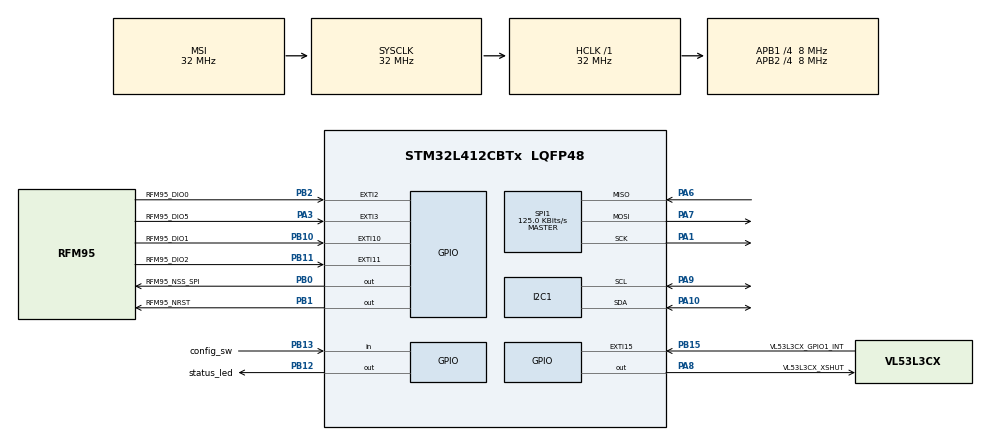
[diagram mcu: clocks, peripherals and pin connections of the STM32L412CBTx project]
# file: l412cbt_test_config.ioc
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ADC1.Channel-0\#ChannelRegularConversion=ADC_CHANNEL_VBAT
ADC1.NbrOfConversionFlag=1
ADC1.OffsetNumber-0\#ChannelRegularConversion=ADC_OFFSET_NONE
ADC1.Rank-0\#ChannelRegularConversion=1
ADC1.SamplingTime-0\#ChannelRegularConversion=ADC_SAMPLETIME_2CYCLES_5
ADC1.master=1
I2C1.Timing=0x2000090E
Mcu.Family=STM32L4
Mcu.Name=STM32L412CBTx
Mcu.Package=LQFP48
NVIC.EXTI15_10_IRQn=true\:1\:0\:true\:false\:true\:true\:true\:true
NVIC.EXTI2_IRQn=true\:1\:0\:true\:false\:true\:true\:true\:true
NVIC.EXTI3_IRQn=true\:1\:0\:true\:false\:true\:true\:true\:true
NVIC.PriorityGroup=NVIC_PRIORITYGROUP_4
NVIC.TIM2_IRQn=true\:0\:0\:true\:false\:true\:true\:true\:true
PA1.Mode=Full_Duplex_Master
PA1.Signal=SPI1_SCK
PA10.Mode=I2C
PA10.Signal=I2C1_SDA
PA13\ (JTMS/SWDIO).Mode=Trace_Asynchronous_SW
PA13\ (JTMS/SWDIO).Signal=SYS_JTMS-SWDIO
PA14\ (JTCK/SWCLK).Mode=Trace_Asynchronous_SW
PA14\ (JTCK/SWCLK).Signal=SYS_JTCK-SWCLK
PA3.GPIO_Label=RFM95_DIO5
PA3.Signal=GPXTI3
PA6.Mode=Full_Duplex_Master
PA6.Signal=SPI1_MISO
PA7.Mode=Full_Duplex_Master
PA7.Signal=SPI1_MOSI
PA8.GPIO_Label=VL53L3CX_XSHUT
PA8.PinState=GPIO_PIN_SET
PA8.Signal=GPIO_Output
PA9.Mode=I2C
PA9.Signal=I2C1_SCL
PB0.GPIO_Label=RFM95_NSS_SPI
PB0.GPIO_Speed=GPIO_SPEED_FREQ_HIGH
PB0.PinState=GPIO_PIN_SET
PB0.Signal=GPIO_Output
PB1.GPIO_Label=RFM95_NRST
PB1.PinState=GPIO_PIN_SET
PB1.Signal=GPIO_Output
PB10.GPIO_Label=RFM95_DIO1
PB10.Signal=GPXTI10
PB11.GPIO_Label=RFM95_DIO2
PB11.Signal=GPXTI11
PB12.GPIO_Label=status_led
PB12.PinState=GPIO_PIN_SET
PB12.Signal=GPIO_Output
PB13.GPIO_Label=config_sw
PB13.Signal=GPIO_Input
PB15.GPIO_Label=VL53L3CX_GPIO1_INT
PB15.Signal=GPXTI15
PB2.GPIO_Label=RFM95_DIO0
PB2.Signal=GPXTI2
PB3\ (JTDO/TRACESWO).Mode=Trace_Asynchronous_SW
PB3\ (JTDO/TRACESWO).Signal=SYS_JTDO-SWO
PH0-OSC_IN\ (PH0).Mode=HSE-External-Oscillator
PH0-OSC_IN\ (PH0).Signal=RCC_OSC_IN
PH1-OSC_OUT\ (PH1).Mode=HSE-External-Oscillator
PH1-OSC_OUT\ (PH1).Signal=RCC_OSC_OUT
ProjectManager.HeapSize=0x200
ProjectManager.StackSize=0x400
ProjectManager.TargetToolchain=STM32CubeIDE
RCC.ADCFreq_Value=32000000
RCC.AHBFreq_Value=32000000
RCC.APB1CLKDivider=RCC_HCLK_DIV4
RCC.APB1Freq_Value=8000000
RCC.APB1TimFreq_Value=16000000
RCC.APB2CLKDivider=RCC_HCLK_DIV4
RCC.APB2Freq_Value=8000000
RCC.APB2TimFreq_Value=16000000
RCC.CK48CLockSelection=RCC_USBCLKSOURCE_HSI48
RCC.CortexFreq_Value=32000000
RCC.HCLKFreq_Value=32000000
RCC.HSE_VALUE=8000000
RCC.HSI48_VALUE=48000000
RCC.HSI_VALUE=16000000
RCC.LSE_VALUE=32768
RCC.MSIClockRange=RCC_MSIRANGE_10
RCC.MSI_VALUE=32000000
RCC.PLLN=40
RCC.SYSCLKFreq_VALUE=32000000
RCC.USBFreq_Value=48000000
RCC.VCOOutputFreq_Value=1280000000
SPI1.BaudRatePrescaler=SPI_BAUDRATEPRESCALER_64
SPI1.CalculateBaudRate=125.0 KBits/s
SPI1.DataSize=SPI_DATASIZE_8BIT
SPI1.Direction=SPI_DIRECTION_2LINES
SPI1.Mode=SPI_MODE_MASTER
SPI1.VirtualType=VM_MASTER
TIM2.Period=3999999
TIM2.Prescaler=16000
VP_ADC1_Vbat_Input.Mode=IN-Vbat
VP_TIM2_VS_ClockSourceINT.Mode=Internal
board=custom

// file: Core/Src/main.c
/* USER CODE BEGIN Header */
/**
  ******************************************************************************
  * @file           : main.c
  * @brief          : Main program body
  ******************************************************************************
  * @attention
  *
  * Copyright (c) 2024 STMicroelectronics.
  * All rights reserved.
  *
  * This software is licensed under terms that can be found in the LICENSE file
  * in the root directory of this software component.
  * If no LICENSE file comes with this software, it is provided AS-IS.
  *
  ******************************************************************************
  */
/* USER CODE END Header */
#include "main.h"
#include "stm32l4xx_hal.h"
#include "stdbool.h"
#include"assert.h"
#include "string.h"
#include "VL53L3CX_ULP_api.h"

/* USER CODE BEGIN PTD */

/* Private includes ----------------------------------------------------------*/
/* USER CODE BEGIN Includes */

/* USER CODE END Includes */

/* Private typedef -----------------------------------------------------------*/
/* USER CODE BEGIN PTD */
#define RFM9x_VER 0x12 // chip version can be read from ver register

#ifndef RFM95_SPI_TIMEOUT
#define RFM95_SPI_TIMEOUT 10
#endif

#ifndef RFM95_WAKEUP_TIMEOUT
#define RFM95_WAKEUP_TIMEOUT 10
#endif

#ifndef RFM95_SEND_TIMEOUT
#define RFM95_SEND_TIMEOUT 150
#endif

#ifndef RFM95_RECEIVE_TIMEOUT
#define RFM95_RECEIVE_TIMEOUT 1000
#endif

#ifndef RX_CONTINUOUS_TIMEOUT
#define RX_CONTINUOUS_TIMEOUT 2500
#endif

#define no_check 10
#define check 0
#define object_detected 1

#define SetUp_mode 10
#define Monitoring_mode 20

#define sending 1
#define service_channel 0
/**
 * LoRa Registers addresses read page 90 and page 108 on SX1276 data sheet
 Note: Reg function and name is different for each modulation scheme!
 */
typedef enum
{
	RFM95_REGISTER_FIFO_ACCESS = 0x00,
	RFM95_REGISTER_OP_MODE = 0x01,
	RFM95_REGISTER_FR_MSB = 0x06,
	RFM95_REGISTER_FR_MID = 0x07,
	RFM95_REGISTER_FR_LSB = 0x08,
	RFM95_REGISTER_PA_CONFIG = 0x09,
	RFM95_REGISTER_LNA = 0x0C,
	RFM95_REGISTER_FIFO_ADDR_PTR = 0x0D,
	RFM95_REGISTER_FIFO_TX_BASE_ADDR = 0x0E,
	RFM95_REGISTER_FIFO_RX_BASE_ADDR = 0x0F,
	RFM95_REGISTER_IRQ_FLAGS = 0x12,
	RFM95_REGISTER_FIFO_RX_BYTES_NB = 0x13,
	RFM95_REGISTER_PACKET_SNR = 0x19,
	RFM95_REGISTER_MODEM_CONFIG_1 = 0x1D,//configures the lore modem freq, SF, coding rate...
	RFM95_REGISTER_MODEM_CONFIG_2 = 0x1E,//same here
	RFM95_REGISTER_SYMB_TIMEOUT_LSB = 0x1F,
	RFM95_REGISTER_PREAMBLE_MSB = 0x20,
	RFM95_REGISTER_PREAMBLE_LSB = 0x21,
	RFM95_REGISTER_PAYLOAD_LENGTH = 0x22,
	RFM95_REGISTER_MAX_PAYLOAD_LENGTH = 0x23,
	RFM95_REGISTER_REG_OSC = 0x24,
	RFM95_REGISTER_MODEM_CONFIG_3 = 0x26,
	RFM95_REGISTER_INVERT_IQ_1 = 0x33,
	RFM95_REGISTER_SYNC_WORD = 0x39,
	RFM95_REGISTER_INVERT_IQ_2 = 0x3B,
	RFM95_REGISTER_DIO_MAPPING_1 = 0x40,
	RFM95_REGISTER_VERSION = 0x42,
	RFM95_REGISTER_PA_DAC = 0x4D,
	RegHopPeriod = 0x24,
	REG_DETECT_THRESHOLD = 0x37

} rfm95_register_t;

#define RFM95_REGISTER_OP_MODE_SLEEP                            0x00
#define RFM95_REGISTER_OP_MODE_LORA_SLEEP                       0x80
#define RFM95_REGISTER_OP_MODE_LORA_STANDBY                     0x81
#define RFM95_REGISTER_OP_MODE_LORA_TX                          0x83
#define RFM95_REGISTER_OP_MODE_LORA_RX_SINGLE                   0x86
#define RFM95_REGISTER_OP_MODE_LORA_RX_CONTI               0x85
#define RFM95_REGISTER_OP_MODE_LORA_CAD              			0x87

#define RFM95_REGISTER_PA_DAC_LOW_POWER                         0x84
#define RFM95_REGISTER_PA_DAC_HIGH_POWER                        0x87

#define RFM95_REGISTER_DIO_MAPPING_1_IRQ_FOR_TXDONE             0x40
#define RFM95_REGISTER_DIO_MAPPING_1_IRQ_FOR_RXDONE             0x00

#define RFM95_REGISTER_CLK_OUT_OFF           					 0x07

#define RFM95_REGISTER_INVERT_IQ_1_TX                    		    0x26
#define RFM95_REGISTER_INVERT_IQ_2_TX							              0x1d

#define RFM95_REGISTER_INVERT_IQ_1_RX                    		    0x67
#define RFM95_REGISTER_INVERT_IQ_2_RX						0x19
#define RegHopPeriod 		0x24
#define REG_DETECT_THRESHOLD 0x37

#define RFM95_INTERRUPT_COUNT 3//number of interrupt lines
#define No_Pin 0x41000

typedef enum
{
	RFM95_INTERRUPT_DIO0 ,
	RFM95_INTERRUPT_DIO1 ,
	RFM95_INTERRUPT_DIO5

} rfm95_interrupt_t;

typedef enum
{
	RFM95_RECEIVE_MODE_NONE,// no reciever
	RFM95_RECEIVE_MODE_RX1_ONLY,// recieve only with RX1 time target
	RFM95_RECEIVE_MODE_RX12,// receive with RX1 time target, of fails use the longer RX2 time target
	RFM95_RECEIVE_MODE_CONTINUOUS,//continously fills the data buffer but generates a an RX done flag, no timeout interrupt for the module in rx mode
	FM95_RECEIVE_MODE_CAD//detects if a valid Lora preable is detetc

} rfm95_receive_mode_t;

typedef struct
{// the elements of union share the same address space, thus in this case buffer union is just used to pass the contetnts of the whole struct.
	union {//struct used the bit field number": 1" as to compact the size to given number if bits
		struct {
			uint8_t output_power : 4;
			uint8_t max_power : 3;
			uint8_t pa_select : 1;
		};
		uint8_t buffer;
	};
} rfm95_register_pa_config_t;

typedef struct {

	uint32_t frequency;//frequency band give in Hz

} rfm95_channel_config_t;

typedef struct {

	/**
	 * MAGIC
	 */
	uint16_t magic;

	/**
	 * The current RX frame counter value.
	 */
	uint16_t rx_frame_count;

	/**
	 * The current TX frame counter value.
	 */
	uint16_t tx_frame_count;

	/**
	 * The delay to the RX1 window, default is 1
	 */
	uint8_t rx1_delay ;

	/**
	 * The configuration of channels, option of 16 chanel with diffrent frequencies
	 */
	rfm95_channel_config_t channels[16];

	/**
	 * Mask defining which channels are configured.
	 */
	uint16_t channel_mask;

} rfm95_eeprom_config_t;

typedef void (*rfm95_on_after_interrupts_configured)();

typedef void (*rfm95_precision_sleep_until)(uint32_t ticks_target);

typedef uint8_t (*rfm95_random_int)(uint8_t max);
typedef uint8_t (*rfm95_get_battery_level)();

typedef struct {

	/**
	 * The handle to the SPI bus for the device.
	 */
	SPI_HandleTypeDef *spi_handle;

	/**
	 * The port of the NSS pin.
	 */
	GPIO_TypeDef *nss_port;

	/**
	 * The NSS pin.
	 */
	uint16_t nss_pin;

		/**
	 * The DIO0 pin.
	 */
	uint16_t DIO0_pin;

	/**
	 * The DIO1 pin.
	 */
	uint16_t DIO1_pin;

	/**
	 * The DIO5 pin.
	 */
	uint16_t DIO5_pin;

	/**
	 * The port of the RST pin.
	 */
	GPIO_TypeDef *nrst_port;

	/**
	 * The RST pin.
	 */
	uint16_t nrst_pin;

	/**
	 * The device address for the LoraWAN
	 */
	uint8_t source_address[4];

	/**
	* The address of the destination (gateway)
	 */

	uint8_t destination_address[4];

	/**
	 * The network session key for ABP activation with the LoraWAN
	 */
	uint8_t network_session_key[16];

	/**
	 * The application session key for ABP activation with the LoraWAN
	 */
	uint8_t application_session_key[16];

	/**
	 * The frequency of the precision tick in Hz.
	 */
	uint32_t precision_tick_frequency;

	/**
	 * The +/- timing drift per second in nanoseconds.
	 */
	uint32_t precision_tick_drift_us_per_s;

	int8_t recieved_snr;

	/**
	 * The receive mode to operate at.
	 */
	rfm95_receive_mode_t receive_mode;

	/**
	 * Function that provides a precise sleep until a given tick count is reached.
	 */
	rfm95_precision_sleep_until precision_sleep_until;

	/**
	 * Function that provides a random integer.
	 */
	rfm95_random_int random_int;

	/**
	 * Function that returns the device's battery level.
	 */
	rfm95_get_battery_level get_battery_level;

	/**
	 * Callback called after the interrupt functions have been properly configred;
	 */
	rfm95_on_after_interrupts_configured on_after_interrupts_configured;

/**
	 * The config saved into the eeprom!! No eemprom so used to hold the channel frequencies
	 */
	rfm95_eeprom_config_t config;

	/**
	 * Tick values when each interrupt was called.
	 */
	volatile uint32_t interrupt_times[RFM95_INTERRUPT_COUNT];

	bool status;

} rfm95_handle_t;

typedef struct {

			uint16_t dev_address;

			uint16_t sensor_id;

			int status;

			uint8_t mes_status;

			uint16_t distance;

			uint16_t sigma;

			uint16_t signal_kcps;

			uint16_t ambient_kcps;

} VL53L3CX_handle_struct;

volatile uint8_t IntCount = 0;

/* USER CODE END PTD */

I2C_HandleTypeDef hi2c1;

SPI_HandleTypeDef hspi1;

TIM_HandleTypeDef htim2;

ADC_HandleTypeDef hadc1;

void SystemClock_Config(void);
static void MX_GPIO_Init(void);
static void MX_I2C1_Init(void);
static void MX_SPI1_Init(void);
static void MX_TIM2_Init(void);
static void MX_ADC1_Init(void);

/* USER CODE BEGIN 0 */
void sleep (void){
		HAL_SuspendTick();
		//could make it so it uses a lower power mode
		HAL_PWR_EnterSTOPMode(PWR_MAINREGULATOR_ON, PWR_STOPENTRY_WFI);
		SystemClock_Config();
		HAL_ResumeTick();

}

//code works well but should be more precise and pass float variables //could add the option off passing a prescale value
void sleep_precise_s(uint8_t seconds){
	htim2.Instance = TIM2;
  	htim2.Init.Prescaler = 15;

  	htim2.Init.Period = ((seconds * HAL_RCC_GetPCLK1Freq())/(htim2.Init.Prescaler+1))-1;

  	if (HAL_TIM_Base_Init(&htim2) != HAL_OK)
  	{
    	Error_Handler();
  	}

  	HAL_GetTick();
	HAL_TIM_Base_Start_IT(&htim2);

	sleep();

}

void sleep_precise_ms(uint16_t mili_seconds){
	htim2.Instance = TIM2;
  	htim2.Init.Prescaler = 15;

  	htim2.Init.Period = (((mili_seconds * HAL_RCC_GetPCLK1Freq())/((htim2.Init.Prescaler+1)*1000))-1);

  	if (HAL_TIM_Base_Init(&htim2) != HAL_OK)
  	{
    	Error_Handler();
  	}

  	HAL_GetTick();
	HAL_TIM_Base_Start_IT(&htim2);
	sleep();

}

uint16_t rfm95_interrupt_poll (uint16_t GPIO_Pin, uint8_t check_flag, uint8_t clear_all_flag){

	static uint16_t interupt_num[3];

	 if(clear_all_flag == 10){

		 interupt_num[0] = 0;
		 interupt_num[1] = 0;
		 interupt_num[2] = 0;

		 return 1;
	 }

		interupt_num[0] = (check_flag  == check)*interupt_num[0] + (GPIO_Pin == RFM95_DIO0_Pin && check_flag  != check) * HAL_GetTick();
		interupt_num[1] = (check_flag  == check)*interupt_num[1] + (GPIO_Pin == RFM95_DIO1_Pin && check_flag  != check) * HAL_GetTick();
		interupt_num[2] = (check_flag  == check)*interupt_num[2] + (GPIO_Pin == RFM95_DIO5_Pin && check_flag  != check) * HAL_GetTick();

		return (GPIO_Pin == RFM95_DIO0_Pin)*interupt_num[0] + (GPIO_Pin == RFM95_DIO1_Pin)*interupt_num[1]+ (GPIO_Pin == RFM95_DIO5_Pin)*interupt_num[2];

}

static bool read_register(rfm95_handle_t *handle, rfm95_register_t reg, uint8_t *buffer, size_t length)
{
	HAL_GPIO_WritePin(handle->nss_port, handle->nss_pin, GPIO_PIN_RESET);
	HAL_Delay(1);

	uint8_t transmit_buffer = (uint8_t)reg & 0x7fu;

	if (HAL_SPI_Transmit(handle->spi_handle, &transmit_buffer, 1, RFM95_SPI_TIMEOUT) != HAL_OK) {
		return false;
	}

	if (HAL_SPI_Receive(handle->spi_handle, buffer, length, RFM95_SPI_TIMEOUT) != HAL_OK) {
		return false;
	}

	HAL_GPIO_WritePin(handle->nss_port, handle->nss_pin, GPIO_PIN_SET);

	return true;
}

static bool write_register(rfm95_handle_t *handle, rfm95_register_t reg, uint8_t value)
{
	HAL_GPIO_WritePin(handle->nss_port, handle->nss_pin, GPIO_PIN_RESET);
	HAL_Delay(1);

	uint8_t transmit_buffer[2] = {((uint8_t)reg | 0x80u), value};

	if (HAL_SPI_Transmit(handle->spi_handle, transmit_buffer, 2, RFM95_SPI_TIMEOUT) != HAL_OK) {
		return false;
	}

	HAL_GPIO_WritePin(handle->nss_port, handle->nss_pin, GPIO_PIN_SET);

	return true;
}

//sets a num,ber of diffrent channel bands
//static void config_set_channel(rfm95_handle_t *handle, uint8_t channel_index, uint32_t frequency)
//{
//	assert(channel_index < 16);
//	handle->config.channels[channel_index].frequency = frequency;
//	handle->config.channel_mask |= (1 << channel_index);
//}

static void reset(rfm95_handle_t *handle)//resets the RFM module
{
	HAL_GPIO_WritePin(handle->nrst_port, handle->nrst_pin, GPIO_PIN_RESET);
	HAL_Delay(1); // 0.1ms would theoretically be enough
	HAL_GPIO_WritePin(handle->nrst_port, handle->nrst_pin, GPIO_PIN_SET);
	HAL_Delay(5);
}

static bool configure_frequency(rfm95_handle_t *handle, uint32_t frequency)//caclulate the channel freq and configure module by sending binary to chip
{
	// FQ = (FRF * 32 Mhz) / (2 ^ 19)
	uint64_t frf = ((uint64_t)frequency << 19) / 32000000;

	if (!write_register(handle, RFM95_REGISTER_FR_MSB, (uint8_t)(frf >> 16))) return false;
	if (!write_register(handle, RFM95_REGISTER_FR_MID, (uint8_t)(frf >> 8))) return false;
	if (!write_register(handle, RFM95_REGISTER_FR_LSB, (uint8_t)(frf >> 0))) return false;

	return true;
}

//a bit redundant if only one channel is used
static bool configure_channel(rfm95_handle_t *handle, size_t channel_index)// configures a specific channel freq
{
	return configure_frequency(handle, handle->config.channels[channel_index].frequency);
}

static bool wait_for_irq(rfm95_handle_t *handle, rfm95_interrupt_t interrupt, uint16_t GPIO_Pin ,uint32_t timeout_ms)
{	// need to check if the get tick works correctly
	uint32_t timeout_tick = HAL_GetTick() +  timeout_ms * ((handle->precision_tick_frequency *1000) / 1000);

	while ((handle->interrupt_times[interrupt] = rfm95_interrupt_poll ( GPIO_Pin,check,0 ) ) == 0) {
		if (HAL_GetTick() >= timeout_tick) {
			return false;
		}
	}

	return true;
}

static bool wait_for_rx_irqs_long_timeout(rfm95_handle_t *handle, uint16_t GPIO_Pin ){
	 uint32_t timeout_tick = HAL_GetTick() +  10000 * ((handle->precision_tick_frequency * 1000) / 1000);

	while (((handle->interrupt_times[RFM95_INTERRUPT_DIO0] = rfm95_interrupt_poll ( GPIO_Pin,check,0 )) == 0)) {
		if (HAL_GetTick() >= timeout_tick) {
			return false;
		}
	}
	rfm95_interrupt_poll ( GPIO_Pin,check,10 );
	return handle->interrupt_times[RFM95_INTERRUPT_DIO0] != 0;
}

//static bool wait_for_rx_irqs(rfm95_handle_t *handle, uint16_t GPIO_Pin, uint16_t GPIO_Pin2)//generates interrupt from DIO0 pin when rx is done, or rx tinmeout, check pga 46, depeding on DIO mapping each pin has diffrent pin rise for IRQ flags
//{
//	uint32_t timeout_tick = HAL_GetTick() + RFM95_RECEIVE_TIMEOUT * ((handle->precision_tick_frequency*1000) / 1000);
//
//	while (((handle->interrupt_times[RFM95_INTERRUPT_DIO0] = rfm95_interrupt_poll ( GPIO_Pin,check,0 )) == 0) && ((handle->interrupt_times[RFM95_INTERRUPT_DIO1]= rfm95_interrupt_poll ( GPIO_Pin2,check,0 )) == 0)) {
//		if (HAL_GetTick() >= timeout_tick) {
//			return false;
//		}
//	}
//	rfm95_interrupt_poll ( GPIO_Pin,check,10 );
//	return handle->interrupt_times[RFM95_INTERRUPT_DIO0] != 0;
//}

bool rfm95_set_power(rfm95_handle_t *handle, int8_t power)// sets power ouptu of transmistters
{
	assert((power >= 2 && power <= 17) || power == 20);

	rfm95_register_pa_config_t pa_config = {0};
	uint8_t pa_dac_config = 0;

	if (power >= 2 && power <= 17) {
		pa_config.max_power = 7;
		pa_config.pa_select = 1;
		pa_config.output_power = (power - 2);
		pa_dac_config = RFM95_REGISTER_PA_DAC_LOW_POWER;

	} else if (power == 20) {
		pa_config.max_power = 7;
		pa_config.pa_select = 1;
		pa_config.output_power = 15;
		pa_dac_config = RFM95_REGISTER_PA_DAC_HIGH_POWER;
	}

	if (!write_register(handle, RFM95_REGISTER_PA_CONFIG, pa_config.buffer)) return false;
	if (!write_register(handle, RFM95_REGISTER_PA_DAC, pa_dac_config)) return false;

	return true;
}

bool rfm95_init(rfm95_handle_t *handle)// iunitialise a rfm95 instance
{

  	reset(handle);

	// Check for correct version.
	uint8_t version = 0;
	if (!read_register(handle, RFM95_REGISTER_VERSION, &version, 1)) return false;
	if (version != RFM9x_VER) return false;

	//turns of the clk out on DIO 5 pin
	if (!write_register(handle, RFM95_REGISTER_REG_OSC, RFM95_REGISTER_CLK_OUT_OFF)) return false;

	//enable interrupt line after disabling clk output on that DIO5 line.

	// Module must be placed in sleep mode before switching to lora.
	if (!write_register(handle, RFM95_REGISTER_OP_MODE, RFM95_REGISTER_OP_MODE_SLEEP)) return false;

	if (!write_register(handle, RFM95_REGISTER_OP_MODE, RFM95_REGISTER_OP_MODE_LORA_SLEEP)) return false;

	// Default interrupt configuration, must be done to prevent DIO5 clock interrupts at 1Mhz
	if (!write_register(handle, RFM95_REGISTER_DIO_MAPPING_1, RFM95_REGISTER_DIO_MAPPING_1_IRQ_FOR_RXDONE)) return false;

	//no hopping
	if (!write_register(handle, RegHopPeriod, 0x00)) return false;

	// if (!write_register(handle, 0x31, 0xC3)) return false;
	// if (!write_register(handle, REG_DETECT_THRESHOLD, 0x0A)) return false;

	// Set module power to 5dbm.
	if (!rfm95_set_power(handle, 5)) return false;

	// Set LNA to the highest gain with 150% boost.
	if (!write_register(handle, RFM95_REGISTER_LNA, 0x23)) return false;

	// Preamble set to 31 + 4.25 = 35.25 symbols.
	if (!write_register(handle, RFM95_REGISTER_PREAMBLE_MSB, 0x00)) return false;

	if (!write_register(handle, RFM95_REGISTER_PREAMBLE_LSB, 0x1F)) return false;

	//playing with the sync word casues problems, better to leave it to the default 0x34
	// Set TTN sync word 0x34.
  //When the programmed Sync word is detected the user can assume that this incoming packet is for the node and can be processed accordingly
//	if (!write_register(handle, RFM95_REGISTER_SYNC_WORD, 0x12)) return false;

	// Set up TX and RX FIFO base addresses.
	if (!write_register(handle, RFM95_REGISTER_FIFO_TX_BASE_ADDR, 0x80)) return false;

	if (!write_register(handle, RFM95_REGISTER_FIFO_RX_BASE_ADDR, 0x00)) return false;

	// Maximum payload length of the RFM95 is 64.
	if (!write_register(handle, RFM95_REGISTER_MAX_PAYLOAD_LENGTH, 64)) return false;

	// Let module sleep after initialisation.
	if (!write_register(handle, RFM95_REGISTER_OP_MODE, RFM95_REGISTER_OP_MODE_LORA_SLEEP)) return false;

	return true;
}

//sleeps until the given time target
//static bool receive_at_scheduled_time(rfm95_handle_t *handle, uint32_t scheduled_time)// make the modle have a recieve time window
//{
//	// Sleep until 1ms before the scheduled time. need to call that function//replace with sleep functions
//	handle->precision_sleep_until(scheduled_time -((handle->precision_tick_frequency*1000) / 1000));
//
//	// Clear flags and previous interrupt time, configure mapping for RX done.
//	if (!write_register(handle, RFM95_REGISTER_DIO_MAPPING_1, RFM95_REGISTER_DIO_MAPPING_1_IRQ_FOR_RXDONE)) return false;
//	if (!write_register(handle, RFM95_REGISTER_IRQ_FLAGS, 0xff)) return false;
//	handle->interrupt_times[RFM95_INTERRUPT_DIO0] = 0;
//	handle->interrupt_times[RFM95_INTERRUPT_DIO1] = 0;
//	handle->interrupt_times[RFM95_INTERRUPT_DIO5] = 0;
//
//	// Move modem to lora standby.
//	if (!write_register(handle, RFM95_REGISTER_OP_MODE, RFM95_REGISTER_OP_MODE_LORA_STANDBY)) return false;
//
//	// Wait for the modem to be ready.
//if(!wait_for_irq(handle, RFM95_INTERRUPT_DIO5, handle->DIO5_pin,RFM95_WAKEUP_TIMEOUT)) return false;
//
//	// Now sleep until the real scheduled time.//replace with sleep functions
//	handle->precision_sleep_until(scheduled_time);
//
//	// could change it to contionous for testing, note timeout timer in the module is still active need to change if longer time out.
//	if (!write_register(handle, RFM95_REGISTER_OP_MODE, RFM95_REGISTER_OP_MODE_LORA_RX_SINGLE)) return false;
//
//	return true;
//}

////calculates the time target and the number of symbols//check the tick_frequency calculation
//static void calculate_rx_timings(rfm95_handle_t *handle, uint32_t bw, uint8_t sf, uint32_t tx_ticks,
//                                 uint32_t *rx_target, uint32_t *rx_window_symbols)
//{
//	//2<<(sf-1) is equivalent to 1<<sf = 2^sf
//	volatile int32_t symbol_rate_us = (int32_t)(((2 << (sf - 1)) * 1000000) / bw);
//// depends on the drift of the clock source, check the data sheet of the RC clock for STM32L412, ppm times the symbol rate to get the error drift within the period
//	volatile int32_t rx_timing_error_us = (int32_t)(/* handle->precision_tick_drift_us_per_s */ 0.01 * handle->config.rx1_delay);
//	volatile int32_t rx_window_us = 2 * symbol_rate_us + 2 * rx_timing_error_us;
//	volatile int32_t rx_offset_us = 4 * symbol_rate_us - (rx_timing_error_us / 2);
//	volatile int32_t rx_offset_ticks = (int32_t)(((int64_t)rx_offset_us * (int64_t)handle->precision_tick_frequency) / 1000000);
//	//uses TX_ticks time  to calculate the number of RX ticks(time till recieving reply) since sending the uplink
//	*rx_target = tx_ticks + handle->precision_tick_frequency * handle->config.rx1_delay + rx_offset_ticks;
//	*rx_window_symbols = rx_window_us / symbol_rate_us;
//}

//static bool receive_package(rfm95_handle_t *handle, uint32_t tx_ticks, uint8_t *payload_buf, size_t *payload_len, int8_t *snr)
//{
//	*payload_len = 0;
//
//	uint32_t rx1_target, rx1_window_symbols;
//	//calculates the RX target time, prpagation time, etc.
//	calculate_rx_timings(handle, 125000, 7, tx_ticks, &rx1_target, &rx1_window_symbols);
//
//	assert(rx1_window_symbols <= 0x3ff);
//
//	// Configure modem (125kHz, 4/6 error coding rate, SF7, single packet, CRC enable, AGC auto on)
//	if (!write_register(handle, RFM95_REGISTER_MODEM_CONFIG_1, 0x72)) return false;
//	if (!write_register(handle, RFM95_REGISTER_MODEM_CONFIG_2, 0x74 | ((rx1_window_symbols >> 8) & 0x3))) return false;
//	if (!write_register(handle, RFM95_REGISTER_MODEM_CONFIG_3, 0x04)) return false;
//
//	// Set maximum symbol timeout.
//	if (!write_register(handle, RFM95_REGISTER_SYMB_TIMEOUT_LSB, rx1_window_symbols)) return false;
//
//	// Set IQ registers according to AN1200.24.//NOTICE
//	if (!write_register(handle, RFM95_REGISTER_INVERT_IQ_1, RFM95_REGISTER_INVERT_IQ_1_RX)) return false;
//	if (!write_register(handle, RFM95_REGISTER_INVERT_IQ_2, RFM95_REGISTER_INVERT_IQ_2_RX)) return false;
//
//
//	//sleeps until the calculated RX time target and then wakes up 1 ms before and does the configureation, then waits for a RXIRQ flag
//	receive_at_scheduled_time(handle, rx1_target);
//
//	// If there was nothing received during RX1, try RX2 longer MCU sleep till reception, module timeout is still the same.
//	if (!wait_for_rx_irqs(handle, handle->DIO0_pin, handle->DIO1_pin)) {
//
//		// Return modem to sleep.
//		if (!write_register(handle, RFM95_REGISTER_OP_MODE, RFM95_REGISTER_OP_MODE_LORA_SLEEP)) return false;
//
//		if (handle->receive_mode == RFM95_RECEIVE_MODE_RX12) {
//
//			uint32_t rx2_target, rx2_window_symbols;
//			//calcultae timming with larger spreading factor, increase symbol rate and this time delay.
//			calculate_rx_timings(handle, 125000, 12, tx_ticks, &rx2_target, &rx2_window_symbols);
//
//			// Configure 869.525 MHz
//			//if (!configure_frequency(handle, 869525000)) return false;
//			if (!configure_frequency(handle, 868000000)) return false;
//
//			// Configure modem SF12
//			if (!write_register(handle, RFM95_REGISTER_MODEM_CONFIG_1, 0xc2)) return false;
//			if (!write_register(handle, RFM95_REGISTER_MODEM_CONFIG_2, 0x74 | ((rx2_window_symbols >> 8) & 0x3))) return false;
//			if (!write_register(handle, RFM95_REGISTER_MODEM_CONFIG_3, 0x04)) return false;
//
//			// Set maximum symbol timeout.
//			if (!write_register(handle, RFM95_REGISTER_SYMB_TIMEOUT_LSB, rx2_window_symbols)) return false;
//
//			receive_at_scheduled_time(handle, rx2_target);
//
//			if (!wait_for_rx_irqs(handle,handle->DIO0_pin, handle->DIO1_pin)) {
//				// No payload during in RX1 and RX2
//				return true;
//			}
//		}
//
//		return true;
//	}
//
//	//reads CRC error flag
//	uint8_t irq_flags;
//	read_register(handle, RFM95_REGISTER_IRQ_FLAGS, &irq_flags, 1);
//
//	// Check if there was a CRC error. if true exit and disregard transmission
//	if (irq_flags & 0x20) {
//		return true;
//	}
//
//	handle->config.rx_frame_count++;
//
//	int8_t packet_snr;
//	if (!read_register(handle, RFM95_REGISTER_PACKET_SNR, (uint8_t *)&packet_snr, 1)) return false;
//	*snr = (int8_t)(packet_snr / 4);
//
//	// Read received payload length.
//	uint8_t payload_len_internal;
//	if (!read_register(handle, RFM95_REGISTER_FIFO_RX_BYTES_NB, &payload_len_internal, 1)) return false;
//
//	// Read received payload itself.
//	if (!write_register(handle, RFM95_REGISTER_FIFO_ADDR_PTR, 0)) return false;
//	if (!read_register(handle, RFM95_REGISTER_FIFO_ACCESS, payload_buf, payload_len_internal)) return false;
//
//	// Return modem to sleep.
//	if (!write_register(handle, RFM95_REGISTER_OP_MODE, RFM95_REGISTER_OP_MODE_LORA_SLEEP)) return false;
//
//	// Successful payload receive, set payload length to tell caller.
//	*payload_len = payload_len_internal;
//	return true;
//}

static bool recieve_packets(rfm95_handle_t *handle, uint8_t *payload_buf, size_t *payload_len, int8_t *snr, uint8_t channel)
{
*payload_len = 0;

		if (!configure_channel(handle, channel)) return false;

		// Configure modem (125kHz, 4/5 error coding rate, SF6, single packet, CRC disabled, Explicit header,AGC auto on,  max timeout
		if (!write_register(handle, RFM95_REGISTER_MODEM_CONFIG_1, 0x72)) return false;

		if (!write_register(handle, RFM95_REGISTER_MODEM_CONFIG_2, 0x60)) return false;
		if (!write_register(handle, RFM95_REGISTER_MODEM_CONFIG_3, 0x04)) return false;

		// Set IQ registers according to AN1200.24.//NOTICE//for receiving uses inverted IQ, could be 0x66 or 0x67;

//		if (!write_register(handle, RFM95_REGISTER_INVERT_IQ_1, 0x26)) return false;
//			if (!write_register(handle, RFM95_REGISTER_INVERT_IQ_2, 0x1D)) return false;

		//sets the max timeout for the RX single timeout
		if (!write_register(handle, RFM95_REGISTER_SYMB_TIMEOUT_LSB, 0xFF)) return false;

		//sleeps until the calculated RX time target and then wakes up 1 ms before and does the configureation, then waits for a RXIRQ flag
		if (!write_register(handle, RFM95_REGISTER_DIO_MAPPING_1, RFM95_REGISTER_DIO_MAPPING_1_IRQ_FOR_RXDONE)) return false;
		if (!write_register(handle, RFM95_REGISTER_IRQ_FLAGS, 0xff)) return false;
		handle->interrupt_times[RFM95_INTERRUPT_DIO0] = 0;
		handle->interrupt_times[RFM95_INTERRUPT_DIO1] = 0;
		handle->interrupt_times[RFM95_INTERRUPT_DIO5] = 0;

		if (!write_register(handle, RFM95_REGISTER_OP_MODE, RFM95_REGISTER_OP_MODE_LORA_STANDBY)) return false;

		if(!wait_for_irq(handle, RFM95_INTERRUPT_DIO5, handle->DIO5_pin,RFM95_WAKEUP_TIMEOUT)) return false;
		if (!write_register(handle, RFM95_REGISTER_IRQ_FLAGS, 0xff)) return false;
		handle->interrupt_times[RFM95_INTERRUPT_DIO0] = 0;
		handle->interrupt_times[RFM95_INTERRUPT_DIO1] = 0;
		handle->interrupt_times[RFM95_INTERRUPT_DIO5] = 0;

	//uint8_t flag_check = 0;
	// could change it to contionous for testing, note timeout timer in the module is still active need to change if longer time out.
	if (!write_register(handle, RFM95_REGISTER_OP_MODE, RFM95_REGISTER_OP_MODE_LORA_RX_CONTI)) return false;
	//if(!wait_for_irq(handle, RFM95_INTERRUPT_DIO5, handle->DIO5_pin,RFM95_WAKEUP_TIMEOUT)) return false;

	// If there was nothing received during RX1, try RX2 longer MCU sleep till reception, module timeout is still the same.
	if (!wait_for_rx_irqs_long_timeout(handle, handle->DIO0_pin))return false;
	//wait for the rx done, then check for the crc error if yes wait for a new rx done, if no read data

	//reads CRC error flag
	uint8_t irq_flags;
	read_register(handle, RFM95_REGISTER_IRQ_FLAGS, &irq_flags, 1);

	// Check if there was a CRC error. if true exit and disregard transmission
	if (irq_flags & 0x20) {
		return true;
	}

	handle->config.rx_frame_count++;

	int8_t packet_snr;
	if (!read_register(handle, RFM95_REGISTER_PACKET_SNR, (uint8_t *)&packet_snr, 1)) return false;
	*snr = (int8_t)(packet_snr / 4);

	// Read received payload length.
	uint8_t payload_len_internal;
	if (!read_register(handle, RFM95_REGISTER_FIFO_RX_BYTES_NB, &payload_len_internal, 1)) return false;

	// Read received payload itself.
	if (!write_register(handle, RFM95_REGISTER_FIFO_ADDR_PTR, 0)) return false;
	if (!read_register(handle, RFM95_REGISTER_FIFO_ACCESS, payload_buf, payload_len_internal)) return false;

	// Return modem to sleep.
	if (!write_register(handle, RFM95_REGISTER_OP_MODE, RFM95_REGISTER_OP_MODE_LORA_SLEEP)) return false;

	// Successful payload receive, set payload length to tell caller.
	*payload_len = payload_len_internal;
	return true;

}

static bool send_package(rfm95_handle_t *handle, uint8_t *payload_buf, size_t payload_len, uint8_t channel
                         )
{
	// Configure channel for transmission.
	if (!configure_channel(handle, channel)) return false;

	// Configure modem (125kHz, 4/5 error coding rate, SF6, single packet, CRC disable)
	if (!write_register(handle, RFM95_REGISTER_MODEM_CONFIG_1, 0x72)) return false;
	if (!write_register(handle, RFM95_REGISTER_MODEM_CONFIG_2, 0x60)) return false;
	if (!write_register(handle, RFM95_REGISTER_MODEM_CONFIG_3, 0x04)) return false;

//	// Set IQ registers according to AN1200.24.
//	if (!write_register(handle, RFM95_REGISTER_INVERT_IQ_1, RFM95_REGISTER_INVERT_IQ_1_TX)) return false;
//	if (!write_register(handle, RFM95_REGISTER_INVERT_IQ_2, RFM95_REGISTER_INVERT_IQ_2_TX)) return false;

	// Set the payload length.
	if (!write_register(handle, RFM95_REGISTER_PAYLOAD_LENGTH, payload_len)) return false;

	// Enable tx-done interrupt, clear flags and previous interrupt time.
	if (!write_register(handle, RFM95_REGISTER_DIO_MAPPING_1, RFM95_REGISTER_DIO_MAPPING_1_IRQ_FOR_TXDONE)) return false;
	if (!write_register(handle, RFM95_REGISTER_IRQ_FLAGS, 0xff)) return false;
	handle->interrupt_times[RFM95_INTERRUPT_DIO0] = 0;	//cheks how many interrupts have happed or time since interruprt
	handle->interrupt_times[RFM95_INTERRUPT_DIO5] = 0;

	// Move modem to lora standby.
	if (!write_register(handle, RFM95_REGISTER_OP_MODE, RFM95_REGISTER_OP_MODE_LORA_STANDBY)) return false;

	// Wait for the modem to be ready.
	if(!wait_for_irq(handle, RFM95_INTERRUPT_DIO5, handle->DIO5_pin,RFM95_WAKEUP_TIMEOUT)) return false;

	// Set pointer to start of TX section in FIFO.
	if (!write_register(handle, RFM95_REGISTER_FIFO_ADDR_PTR, 0x80)) return false;

	// Write payload to FIFO.
	for (size_t i = 0; i < payload_len; i++) {
		write_register(handle, RFM95_REGISTER_FIFO_ACCESS, payload_buf[i]);
	}

	// Set modem to tx mode.
	if (!write_register(handle, RFM95_REGISTER_OP_MODE, RFM95_REGISTER_OP_MODE_LORA_TX)) return false;

	// Wait for the transfer complete interrupt.
	if (!wait_for_irq(handle, RFM95_INTERRUPT_DIO0, handle->DIO0_pin,RFM95_SEND_TIMEOUT)) return false;

	// Set real tx time in ticks// gives the tick time at which TX is done

	// Return modem to sleep.
	if (!write_register(handle, RFM95_REGISTER_OP_MODE, RFM95_REGISTER_OP_MODE_LORA_SLEEP)) return false;

	// Increment tx frame counter.
	handle->config.tx_frame_count++;

	return true;
}

////You can modify send data itself but the object pointed to by send_data shall not be modified, so if i want to ge the recievd packet i could return it.
//bool rfm95_send_recive(rfm95_handle_t *handle,  uint8_t send_data[], size_t send_data_length, uint8_t channel)
//{
//	uint8_t phy_payload_buf[64] = {0};
//
//
//	// Build the up-link phy payload.
//	// size_t phy_payload_len = encode_phy_payload(handle, phy_payload_buf, send_data, send_data_length, 1);
//
//	//builds the datagram of the message
//size_t phy_payload_len = 0; //build_datagram(handle, phy_payload_buf, send_data, send_data_length);
//
////	size_t phy_payload_len = 64;
//
//	//defult is rindom channnel but for this case it is the second channel with freq 868 Mhz
//	uint8_t random_channel = 1;// select_random_channel(handle);
//
//
//
//	// Send the requested up-link.
//	if (!send_package(handle, phy_payload_buf, phy_payload_len, random_channel)) {
//		write_register(handle, RFM95_REGISTER_OP_MODE, RFM95_REGISTER_OP_MODE_LORA_SLEEP);
//		return false;
//	}
//
//	//Only receive if configured to do so.
//	if(handle->receive_mode == RFM95_RECEIVE_MODE_NONE) {
//		return true;
//	}else{
//	// Clear phy payload buffer to reuse for the down-link message.
//		memset(phy_payload_buf, 0x00, sizeof(phy_payload_buf));
//		phy_payload_len = 0;
//
//
//	 	int8_t snr;
//
//	//Try receiving a down-link.
//		if (!recieve_packets(handle,  phy_payload_buf, &phy_payload_len, &snr, channel)) {
//			write_register(handle, RFM95_REGISTER_OP_MODE, RFM95_REGISTER_OP_MODE_LORA_SLEEP);
//
//			return false;
//		}
//
//		 //Any RX payload was received decode the datagram
//		if (phy_payload_len != 0) {
//
//
//
//		 }
//	 }
//
//
//
//	return true;
//}

//takes about half a second from buidling payload, tx configuring till sending.
bool rfm95_send_test(rfm95_handle_t *handle,  uint8_t send_data[10], size_t send_data_length, uint8_t channel){
	uint8_t phy_payload_buf[64] = {0};
	uint8_t phy_payload_len = 0;

	// 64 bytes is maximum size of the payload can chage in register config
	assert(send_data_length + 4 + 9 <= 64);
	int i = 0;
	for(; i < 4; i++){
		phy_payload_buf[i] = handle->source_address[i];
		phy_payload_len += 1;
	}

	for(; i < 8; i++){
		phy_payload_buf[i] = handle->destination_address[i-4];
		phy_payload_len += 1;
	}
	//sets the number of hops intil being disregarded

	for(; i < 8 + send_data_length; i++){
		phy_payload_buf[i] = send_data[i-8];
		phy_payload_len += 1;
	}

	//defult is rindom channnel but for this case it is the second channel with freq 868 Mhz

	// Send the requested up-link.

	if (!send_package(handle, phy_payload_buf, phy_payload_len, channel)) {

		write_register(handle, RFM95_REGISTER_OP_MODE, RFM95_REGISTER_OP_MODE_LORA_SLEEP);
		return false;
	}
	return true;

}

bool rfm95_recive_test(rfm95_handle_t *handle, uint8_t *phy_payload_buf,uint8_t channel){

	size_t phy_payload_len = 0;
	if(handle->receive_mode == RFM95_RECEIVE_MODE_NONE) {
		return true;
	}else{
		int8_t snr = 0;

	//Try receiving a down-link.
		if(!recieve_packets(handle,  phy_payload_buf, &phy_payload_len, &snr, channel)) return false;

		handle->recieved_snr = snr;
		return true;

	}
}

void ToF_fault_reset(VL53L3CX_handle_struct *handle){
	uint8_t status_id = 1;
	uint8_t status_init = 1;

	for(int i = 0;status_id && status_init && i < 10;i++){//tries a few times to initilise

		 	 	 	HAL_GPIO_WritePin(VL53L3CX_XSHUT_GPIO_Port, VL53L3CX_XSHUT_Pin, GPIO_PIN_RESET);
		 	 	 	HAL_Delay(250);
		 	 	 	HAL_GPIO_WritePin(VL53L3CX_XSHUT_GPIO_Port, VL53L3CX_XSHUT_Pin, GPIO_PIN_SET);
		 	 	 	HAL_Delay(250);

		    		status_id = VL53L3CX_ULP_GetSensorId(handle->dev_address, &handle->sensor_id);
		    		status_init = VL53L3CX_ULP_SensorInit(handle->dev_address);

		    	}

	if(status_init ||status_id ){

			 HAL_NVIC_SystemReset();

	}else{

		VL53L3CX_ULP_SetInterruptConfiguration(handle->dev_address, 140, 1);

		// sets the equivalent integration time, higher value larger max distance
		 VL53L3CX_ULP_SetMacroTiming(handle->dev_address, 200);

		/* (Optional) Program a 10Hz ranging frequency */
		 VL53L3CX_ULP_SetInterMeasurementInMs(handle->dev_address, 50);

		/* (Optional) Enable all the SPADS (increase max distance but also power consumption) */
	 	 VL53L3CX_ULP_SetROI(handle->dev_address, 16);
		 VL53L3CX_ULP_ClearInterrupt(handle->dev_address);

	}

}

void RFM_fault_reset(rfm95_handle_t *handle){
	bool status_here = false;

	for(int i = 0;!status_here && i < 10;i++){//tries a few times to initilise
		 	 	 HAL_NVIC_DisableIRQ(EXTI1_IRQn);

		    		status_here = rfm95_init(handle);

		    		HAL_Delay(500);

		    	}

	if(!status_here){
			 HAL_NVIC_SystemReset();

	}
	 HAL_NVIC_EnableIRQ(EXTI1_IRQn);
	 handle->status = status_here;

}

//updates the tick time when the interrupt happens
void HAL_GPIO_EXTI_Callback( uint16_t GPIO_Pin)

{

	if (GPIO_Pin == VL53L3CX_GPIO1_INT_Pin){

		IntCount = object_detected;

	}else{

		rfm95_interrupt_poll ( GPIO_Pin,no_check,0 );
	}
}

/* USER CODE END 0 */

int main(void)
{
  /* USER CODE BEGIN 1 */
	uint8_t data_request_fail= 0;
	uint8_t state = 0;
	uint8_t seconds = 30;//update approximate update period for the radio
	uint8_t sub_sleeps_seconds = 0;

	uint8_t sleeps_done = 0;

	uint8_t Operation_Mode = 0;
	uint8_t Config_SW = 0;
	uint8_t NEW_setup_flag = 0;

	uint8_t recieves_failed = 0;
	uint8_t battery_state = 0;

	uint8_t check_for_device_address = 0;

	uint8_t recieved_payload[64] = {0};
	uint8_t *recieve_pointer = recieved_payload;

	uint8_t data_packet[10] = {0};

	 rfm95_handle_t rfm95_handle = {
            .spi_handle = &hspi1,
    		.nss_port = RFM95_NSS_SPI_GPIO_Port,
    		.nss_pin = RFM95_NSS_SPI_Pin,
    		.nrst_port =RFM95_NRST_GPIO_Port,
    		.nrst_pin =  RFM95_NRST_Pin,
  		  .DIO0_pin = RFM95_DIO0_Pin,
   	  	  	.DIO5_pin = RFM95_DIO5_Pin,
   	  	  	  .DIO1_pin = RFM95_DIO1_Pin,
    		 .source_address = {
                 0x02, 0x01, 0x02, 0x01
             },
  		   .destination_address = {
  				0x03, 0x02, 0x03, 0x02

  		   },
    		.receive_mode = RFM95_RECEIVE_MODE_CONTINUOUS,
  		.status = false,

        };

        rfm95_handle.config.channels[sending].frequency = 869000000;
        rfm95_handle.config.channels[service_channel].frequency = 869000000;// make requency 868 Mhz
        rfm95_handle.precision_tick_frequency = HAL_GetTickFreq();
  		rfm95_handle.config.tx_frame_count = 0;
  		rfm95_handle.config.rx_frame_count = 0;
  		rfm95_handle.config.rx1_delay = 1;

  		VL53L3CX_handle_struct VL53L3CX_handle1 = {
  	  		.dev_address = 0x53,
  	  		.status = VL53L3CX_ULP_ERROR_NONE,
  	  	};

  /* USER CODE END 1 */

  /* MCU Configuration--------------------------------------------------------*/

  /* Reset of all peripherals, Initializes the Flash interface and the Systick. */
  HAL_Init();

  /* Configure the system clock */
  SystemClock_Config();

  /* Initialize all configured peripherals */
  MX_GPIO_Init();
  MX_I2C1_Init();
  MX_SPI1_Init();
  MX_TIM2_Init();
  MX_ADC1_Init();
  /* USER CODE BEGIN 2 */

  		VL53L3CX_handle1.status = VL53L3CX_ULP_GetSensorId(VL53L3CX_handle1.dev_address, &VL53L3CX_handle1.sensor_id);

  		if(VL53L3CX_handle1.status != VL53L3CX_ULP_ERROR_NONE){
  			ToF_fault_reset(&VL53L3CX_handle1);

  		}

  		VL53L3CX_handle1.status = VL53L3CX_ULP_SensorInit(VL53L3CX_handle1.dev_address);

  		if(VL53L3CX_handle1.status != VL53L3CX_ULP_ERROR_NONE){
  					ToF_fault_reset(&VL53L3CX_handle1);

  		}else{

  			/* (Optional) Program sensor to raise an interrupt ONLY below 300mm */
  			VL53L3CX_handle1.status = VL53L3CX_ULP_SetInterruptConfiguration(VL53L3CX_handle1.dev_address, 140, 1);

  			// sets the equivalent integration time, higher value larger max distance
  			VL53L3CX_handle1.status = VL53L3CX_ULP_SetMacroTiming(VL53L3CX_handle1.dev_address, 100);

  			/* (Optional) Program a 10Hz ranging frequency */
  			VL53L3CX_handle1.status = VL53L3CX_ULP_SetInterMeasurementInMs(VL53L3CX_handle1.dev_address, 400);

  			/* (Optional) Enable all the SPADS (increase max distance but also power consumption) */
  			VL53L3CX_handle1.status = VL53L3CX_ULP_SetROI(VL53L3CX_handle1.dev_address, 16);
  			VL53L3CX_handle1.status = VL53L3CX_ULP_ClearInterrupt(VL53L3CX_handle1.dev_address);
  	}

  		IntCount  = 0;

    	 // Initialise RFM95 module.

  		rfm95_handle.status = rfm95_init(&rfm95_handle);
  		if(rfm95_handle.status != true){

  			RFM_fault_reset(&rfm95_handle);

  		}

  	  HAL_NVIC_EnableIRQ(EXTI2_IRQn);

  	  HAL_NVIC_EnableIRQ(EXTI3_IRQn);

  	  HAL_NVIC_EnableIRQ(EXTI15_10_IRQn);

  	  IntCount  = 0;
  /* USER CODE END 2 */

  /* Infinite loop */
  /* USER CODE BEGIN WHILE */
  while (1)
  {

	  if(NEW_setup_flag == 1){
		  check_for_device_address = (rfm95_handle.source_address[0] == recieved_payload[4]) + (rfm95_handle.source_address[1] == recieved_payload[5]) + (rfm95_handle.source_address[2] == recieved_payload[6]) + (rfm95_handle.source_address[3] == recieved_payload[7]);
		  if(check_for_device_address == 4){
			  check_for_device_address = 0;

		  for(int i = 0; i < 4  ;i++)
		  {
			  rfm95_handle.destination_address[i] = recieved_payload[i+8];

		  }
		  for(int i = 0; i < 4  ;i++)
		 {
		 		  rfm95_handle.source_address[i] = recieved_payload[i+12];

		 }

		 seconds = recieved_payload[16];

		  //more functions can be added here
		  NEW_setup_flag = 0;

		  for(int i = 0; i < 41  ;i++)//upon successful configuration flash status LED for 10 seconds
		  {
			  HAL_GPIO_WritePin(GPIOB,status_led_Pin, GPIO_PIN_RESET);
			  HAL_Delay(250);
			  HAL_GPIO_WritePin(GPIOB,status_led_Pin, GPIO_PIN_SET);
			  HAL_Delay(250);

		  }

	  }
	  }

	  Config_SW = HAL_GPIO_ReadPin(config_sw_GPIO_Port,config_sw_Pin);

	  Operation_Mode = (Config_SW)*SetUp_mode + (!Config_SW)*Monitoring_mode;

	 // Operation_Mode = Monitoring_mode;

switch(Operation_Mode)
{
case Monitoring_mode:

			recieves_failed = 0;
			HAL_GPIO_WritePin(GPIOB,status_led_Pin, GPIO_PIN_RESET);
    /* USER CODE END WHILE */
	  	  data_request_fail = 0;
	  	  sleeps_done = 0;

	  	  // split the sleeps in to sections which when wakes up it checks for the chnage in state, if state is change build populate data array and if time is still left go to sleep untill it is sending time

	  	  sub_sleeps_seconds = seconds/5; //value should be multiples of five

	  	  for(uint8_t i = 0; i < 6; i++){
	  		  VL53L3CX_handle1.status = VL53L3CX_ULP_StartRanging(VL53L3CX_handle1.dev_address);

	  		  if(VL53L3CX_handle1.status != VL53L3CX_ULP_ERROR_NONE){
	  			  	 ToF_fault_reset(&VL53L3CX_handle1);

	  		  }

	  		  VL53L3CX_handle1.status = VL53L3CX_ULP_ClearInterrupt(VL53L3CX_handle1.dev_address);
	  		if(VL53L3CX_handle1.status != VL53L3CX_ULP_ERROR_NONE){
	  			  	 ToF_fault_reset(&VL53L3CX_handle1);

	  		}

	  		HAL_Delay(500);
	  		VL53L3CX_ULP_StopRanging(VL53L3CX_handle1.dev_address);

	  		if(IntCount == object_detected){
	  			break; //exit loop when object was detected
	  		}

	  	  sleep_precise_s(sub_sleeps_seconds);

	  	  if(TIM2->CNT< 1000){
	  		  	  sleeps_done++;

	  	  		  HAL_TIM_Base_Stop_IT(&htim2);

	  	  	  }

	  	  }

	  	 HAL_TIM_Base_Stop_IT(&htim2);
	  	 VL53L3CX_handle1.status = VL53L3CX_ULP_StartRanging(VL53L3CX_handle1.dev_address);
	  	 HAL_Delay(500);//could be even less

	  	  VL53L3CX_handle1.status = VL53L3CX_ULP_DumpDebugData(VL53L3CX_handle1.dev_address, &VL53L3CX_handle1.mes_status ,&VL53L3CX_handle1.distance, &VL53L3CX_handle1.sigma, &VL53L3CX_handle1.signal_kcps, &VL53L3CX_handle1.ambient_kcps );

	  	  if(VL53L3CX_handle1.status != VL53L3CX_ULP_ERROR_NONE){

	  		   VL53L3CX_ULP_ClearInterrupt(VL53L3CX_handle1.dev_address);
	  		  data_request_fail = 1;

	  		  //if there was an error in the data request, attempt a few times
	  		  for(int i = 0; VL53L3CX_handle1.status != VL53L3CX_ULP_ERROR_NONE && i<6; i++){

	  			  	  HAL_Delay(100);
	  				  VL53L3CX_handle1.status = VL53L3CX_ULP_DumpDebugData(VL53L3CX_handle1.dev_address, &VL53L3CX_handle1.mes_status ,&VL53L3CX_handle1.distance, &VL53L3CX_handle1.sigma, &VL53L3CX_handle1.signal_kcps, &VL53L3CX_handle1.ambient_kcps );

	  			  }
	  			  data_request_fail = (VL53L3CX_handle1.status != VL53L3CX_ULP_ERROR_NONE);

	  	  	  }
	  	  	  // if detecected object is very close check a few times to seem if possible debris is still there.
	  	  	  if(VL53L3CX_handle1.distance <= 15){

	  	  		for(int i = 0; VL53L3CX_handle1.status == VL53L3CX_ULP_ERROR_NONE && i<10; i++){

	  	  					VL53L3CX_handle1.status = VL53L3CX_ULP_DumpDebugData(VL53L3CX_handle1.dev_address, &VL53L3CX_handle1.mes_status ,&VL53L3CX_handle1.distance, &VL53L3CX_handle1.sigma, &VL53L3CX_handle1.signal_kcps, &VL53L3CX_handle1.ambient_kcps );
	  	  					HAL_Delay(500);
	  	  		}
	  	  	  }

	  	   VL53L3CX_ULP_StopRanging(VL53L3CX_handle1.dev_address);
	  	   //during idle current is about 56 uA
	  	   VL53L3CX_ULP_ClearInterrupt(VL53L3CX_handle1.dev_address);
	  	   IntCount = 0;

	  	 //200 most licky a car is present, 100 means some trash is over the sensor, 50 means not car is present
	  	   state = (VL53L3CX_handle1.distance < 300 && VL53L3CX_handle1.distance > 40)*200 + (VL53L3CX_handle1.distance < 40)*100 + (VL53L3CX_handle1.distance > 300)*50 ;
	  	   state += data_request_fail*20;

	  		HAL_ADC_Start(&hadc1);
	  		HAL_ADC_PollForConversion(&hadc1, 1000);
	  		HAL_ADC_Stop(&hadc1);
	  		battery_state = (HAL_ADC_GetValue(&hadc1)>113)*100;// about 4.4v at 80% discharge (4.4/3)/(3.3/2^8) = 113.777

	  	  data_packet[0] = VL53L3CX_handle1.mes_status*!data_request_fail ;
	  	  data_packet[1] = (uint8_t) ((VL53L3CX_handle1.distance&255)*!data_request_fail);
	  	  data_packet[2] = (uint8_t) (((VL53L3CX_handle1.distance & 65280)>>8)*!data_request_fail);
	  	  data_packet[3] = (uint8_t) ((VL53L3CX_handle1.signal_kcps&255)*!data_request_fail);
	  	  data_packet[4] = (uint8_t) (((VL53L3CX_handle1.signal_kcps & 65280)>>8)*!data_request_fail);
	  	  data_packet[5] = (uint8_t) ((VL53L3CX_handle1.ambient_kcps&255)*!data_request_fail);
	  	  data_packet[6] = (uint8_t) (((VL53L3CX_handle1.ambient_kcps & 65280)>>8)*!data_request_fail);
	  	  data_packet[7] =  255*!data_request_fail;
	  	  data_packet[8] = state ;//200 most licky a car is present, 200 means some trash is over the sensor, above 300 means nothing is present
		  data_packet[9] = battery_state;

	      /* USER CODE END WHILE */

	      /* USER CODE BEGIN 3 */
	  		if(sleeps_done < 5){
	  			sleep_precise_s(sub_sleeps_seconds*(5-sleeps_done));
	  			HAL_TIM_Base_Stop_IT(&htim2);
	  		}

	  	  for (int i = 0; i<2; i++){

	  		  rfm95_handle.status = rfm95_send_test(&rfm95_handle, data_packet, 10, sending);

	  		HAL_Delay(50);
	  	  	  if(rfm95_handle.status != true){

	  	  			RFM_fault_reset(&rfm95_handle);

	  	  	  }else{
	  	  		  break;
	  	  	  }
	  	  	  HAL_Delay(1000);

	    	  }

	    /* USER CODE END 3 */

	  	break;

case SetUp_mode:

		HAL_GPIO_WritePin(GPIOB,status_led_Pin, GPIO_PIN_SET);
		HAL_Delay(50);
		rfm95_handle.status = rfm95_recive_test(&rfm95_handle, recieve_pointer, service_channel);

		if(rfm95_handle.status != true){
			recieves_failed++;

		if(recieves_failed >= 20){
			RFM_fault_reset(&rfm95_handle);
			recieves_failed = 0;

		}

		}else{

			if(rfm95_handle.recieved_snr >= 7){
			recieves_failed = 0;
			NEW_setup_flag = 1;
			}
		}

		break;

	  }
  }
}

void SystemClock_Config(void)
{
  RCC_OscInitTypeDef RCC_OscInitStruct = {0};
  RCC_ClkInitTypeDef RCC_ClkInitStruct = {0};

  /** Configure the main internal regulator output voltage
  */
  if (HAL_PWREx_ControlVoltageScaling(PWR_REGULATOR_VOLTAGE_SCALE1) != HAL_OK)
  {
    Error_Handler();
  }

  /** Initializes the RCC Oscillators according to the specified parameters
  * in the RCC_OscInitTypeDef structure.
  */
  RCC_OscInitStruct.OscillatorType = RCC_OSCILLATORTYPE_MSI;
  RCC_OscInitStruct.MSIState = RCC_MSI_ON;
  RCC_OscInitStruct.MSICalibrationValue = 0;
  RCC_OscInitStruct.MSIClockRange = RCC_MSIRANGE_10;
  RCC_OscInitStruct.PLL.PLLState = RCC_PLL_NONE;
  if (HAL_RCC_OscConfig(&RCC_OscInitStruct) != HAL_OK)
  {
    Error_Handler();
  }

  /** Initializes the CPU, AHB and APB buses clocks
  */
  RCC_ClkInitStruct.ClockType = RCC_CLOCKTYPE_HCLK|RCC_CLOCKTYPE_SYSCLK
                              |RCC_CLOCKTYPE_PCLK1|RCC_CLOCKTYPE_PCLK2;
  RCC_ClkInitStruct.SYSCLKSource = RCC_SYSCLKSOURCE_MSI;
  RCC_ClkInitStruct.AHBCLKDivider = RCC_SYSCLK_DIV1;
  RCC_ClkInitStruct.APB1CLKDivider = RCC_HCLK_DIV4;
  RCC_ClkInitStruct.APB2CLKDivider = RCC_HCLK_DIV4;

  if (HAL_RCC_ClockConfig(&RCC_ClkInitStruct, FLASH_LATENCY_1) != HAL_OK)
  {
    Error_Handler();
  }
}

static void MX_ADC1_Init(void)
{

  ADC_MultiModeTypeDef multimode = {0};
  ADC_ChannelConfTypeDef sConfig = {0};

  /** Common config
  */
  hadc1.Instance = ADC1;
  hadc1.Init.ClockPrescaler = ADC_CLOCK_ASYNC_DIV1;
  hadc1.Init.Resolution = ADC_RESOLUTION_8B;
  hadc1.Init.DataAlign = ADC_DATAALIGN_RIGHT;
  hadc1.Init.ScanConvMode = ADC_SCAN_DISABLE;
  hadc1.Init.EOCSelection = ADC_EOC_SINGLE_CONV;
  hadc1.Init.LowPowerAutoWait = DISABLE;
  hadc1.Init.ContinuousConvMode = DISABLE;
  hadc1.Init.NbrOfConversion = 1;
  hadc1.Init.DiscontinuousConvMode = DISABLE;
  hadc1.Init.ExternalTrigConv = ADC_SOFTWARE_START;
  hadc1.Init.ExternalTrigConvEdge = ADC_EXTERNALTRIGCONVEDGE_NONE;
  hadc1.Init.DMAContinuousRequests = DISABLE;
  hadc1.Init.Overrun = ADC_OVR_DATA_PRESERVED;
  hadc1.Init.OversamplingMode = DISABLE;
  if (HAL_ADC_Init(&hadc1) != HAL_OK)
  {
    Error_Handler();
  }

  /** Configure the ADC multi-mode
  */
  multimode.Mode = ADC_MODE_INDEPENDENT;
  if (HAL_ADCEx_MultiModeConfigChannel(&hadc1, &multimode) != HAL_OK)
  {
    Error_Handler();
  }

  /** Configure Regular Channel
  */
  sConfig.Channel = ADC_CHANNEL_VBAT;
  sConfig.Rank = ADC_REGULAR_RANK_1;
  sConfig.SamplingTime = ADC_SAMPLETIME_2CYCLES_5;
  sConfig.SingleDiff = ADC_SINGLE_ENDED;
  sConfig.OffsetNumber = ADC_OFFSET_NONE;
  sConfig.Offset = 0;
  if (HAL_ADC_ConfigChannel(&hadc1, &sConfig) != HAL_OK)
  {
    Error_Handler();
  }

}

static void MX_I2C1_Init(void)
{

  hi2c1.Instance = I2C1;
  hi2c1.Init.Timing = 0x2000090E;
  hi2c1.Init.OwnAddress1 = 0;
  hi2c1.Init.AddressingMode = I2C_ADDRESSINGMODE_7BIT;
  hi2c1.Init.DualAddressMode = I2C_DUALADDRESS_DISABLE;
  hi2c1.Init.OwnAddress2 = 0;
  hi2c1.Init.OwnAddress2Masks = I2C_OA2_NOMASK;
  hi2c1.Init.GeneralCallMode = I2C_GENERALCALL_DISABLE;
  hi2c1.Init.NoStretchMode = I2C_NOSTRETCH_DISABLE;
  if (HAL_I2C_Init(&hi2c1) != HAL_OK)
  {
    Error_Handler();
  }

  /** Configure Analogue filter
  */
  if (HAL_I2CEx_ConfigAnalogFilter(&hi2c1, I2C_ANALOGFILTER_ENABLE) != HAL_OK)
  {
    Error_Handler();
  }

  /** Configure Digital filter
  */
  if (HAL_I2CEx_ConfigDigitalFilter(&hi2c1, 0) != HAL_OK)
  {
    Error_Handler();
  }

}

static void MX_SPI1_Init(void)
{

  /* SPI1 parameter configuration*/
  hspi1.Instance = SPI1;
  hspi1.Init.Mode = SPI_MODE_MASTER;
  hspi1.Init.Direction = SPI_DIRECTION_2LINES;
  hspi1.Init.DataSize = SPI_DATASIZE_8BIT;
  hspi1.Init.CLKPolarity = SPI_POLARITY_LOW;
  hspi1.Init.CLKPhase = SPI_PHASE_1EDGE;
  hspi1.Init.NSS = SPI_NSS_SOFT;
  hspi1.Init.BaudRatePrescaler = SPI_BAUDRATEPRESCALER_64;
  hspi1.Init.FirstBit = SPI_FIRSTBIT_MSB;
  hspi1.Init.TIMode = SPI_TIMODE_DISABLE;
  hspi1.Init.CRCCalculation = SPI_CRCCALCULATION_DISABLE;
  hspi1.Init.CRCPolynomial = 7;
  hspi1.Init.CRCLength = SPI_CRC_LENGTH_DATASIZE;
  hspi1.Init.NSSPMode = SPI_NSS_PULSE_ENABLE;
  if (HAL_SPI_Init(&hspi1) != HAL_OK)
  {
    Error_Handler();
  }

}

static void MX_TIM2_Init(void)
{

  TIM_ClockConfigTypeDef sClockSourceConfig = {0};
  TIM_MasterConfigTypeDef sMasterConfig = {0};

  htim2.Instance = TIM2;
  htim2.Init.Prescaler = 16000;
  htim2.Init.CounterMode = TIM_COUNTERMODE_UP;
  htim2.Init.Period = 3999999;
  htim2.Init.ClockDivision = TIM_CLOCKDIVISION_DIV1;
  htim2.Init.AutoReloadPreload = TIM_AUTORELOAD_PRELOAD_DISABLE;
  if (HAL_TIM_Base_Init(&htim2) != HAL_OK)
  {
    Error_Handler();
  }
  sClockSourceConfig.ClockSource = TIM_CLOCKSOURCE_INTERNAL;
  if (HAL_TIM_ConfigClockSource(&htim2, &sClockSourceConfig) != HAL_OK)
  {
    Error_Handler();
  }
  sMasterConfig.MasterOutputTrigger = TIM_TRGO_RESET;
  sMasterConfig.MasterSlaveMode = TIM_MASTERSLAVEMODE_DISABLE;
  if (HAL_TIMEx_MasterConfigSynchronization(&htim2, &sMasterConfig) != HAL_OK)
  {
    Error_Handler();
  }

}

static void MX_GPIO_Init(void)
{
  GPIO_InitTypeDef GPIO_InitStruct = {0};

  /* GPIO Ports Clock Enable */
  __HAL_RCC_GPIOH_CLK_ENABLE();
  __HAL_RCC_GPIOA_CLK_ENABLE();
  __HAL_RCC_GPIOB_CLK_ENABLE();

  /*Configure GPIO pin Output Level */
  HAL_GPIO_WritePin(GPIOB, RFM95_NSS_SPI_Pin|RFM95_NRST_Pin|status_led_Pin, GPIO_PIN_SET);

  /*Configure GPIO pin Output Level */
  HAL_GPIO_WritePin(VL53L3CX_XSHUT_GPIO_Port, VL53L3CX_XSHUT_Pin, GPIO_PIN_SET);

  /*Configure GPIO pin : RFM95_DIO5_Pin */
  GPIO_InitStruct.Pin = RFM95_DIO5_Pin;
  GPIO_InitStruct.Mode = GPIO_MODE_IT_RISING;
  GPIO_InitStruct.Pull = GPIO_NOPULL;
  HAL_GPIO_Init(RFM95_DIO5_GPIO_Port, &GPIO_InitStruct);

  /*Configure GPIO pin : RFM95_NSS_SPI_Pin */
  GPIO_InitStruct.Pin = RFM95_NSS_SPI_Pin;
  GPIO_InitStruct.Mode = GPIO_MODE_OUTPUT_PP;
  GPIO_InitStruct.Pull = GPIO_NOPULL;
  GPIO_InitStruct.Speed = GPIO_SPEED_FREQ_HIGH;
  HAL_GPIO_Init(RFM95_NSS_SPI_GPIO_Port, &GPIO_InitStruct);

  /*Configure GPIO pins : RFM95_NRST_Pin status_led_Pin */
  GPIO_InitStruct.Pin = RFM95_NRST_Pin|status_led_Pin;
  GPIO_InitStruct.Mode = GPIO_MODE_OUTPUT_PP;
  GPIO_InitStruct.Pull = GPIO_NOPULL;
  GPIO_InitStruct.Speed = GPIO_SPEED_FREQ_LOW;
  HAL_GPIO_Init(GPIOB, &GPIO_InitStruct);

  /*Configure GPIO pins : RFM95_DIO0_Pin RFM95_DIO1_Pin RFM95_DIO2_Pin VL53L3CX_GPIO1_INT_Pin */
  GPIO_InitStruct.Pin = RFM95_DIO0_Pin|RFM95_DIO1_Pin|RFM95_DIO2_Pin|VL53L3CX_GPIO1_INT_Pin;
  GPIO_InitStruct.Mode = GPIO_MODE_IT_RISING;
  GPIO_InitStruct.Pull = GPIO_NOPULL;
  HAL_GPIO_Init(GPIOB, &GPIO_InitStruct);

  /*Configure GPIO pin : config_sw_Pin */
  GPIO_InitStruct.Pin = config_sw_Pin;
  GPIO_InitStruct.Mode = GPIO_MODE_INPUT;
  GPIO_InitStruct.Pull = GPIO_NOPULL;
  HAL_GPIO_Init(config_sw_GPIO_Port, &GPIO_InitStruct);

  /*Configure GPIO pin : VL53L3CX_XSHUT_Pin */
  GPIO_InitStruct.Pin = VL53L3CX_XSHUT_Pin;
  GPIO_InitStruct.Mode = GPIO_MODE_OUTPUT_PP;
  GPIO_InitStruct.Pull = GPIO_NOPULL;
  GPIO_InitStruct.Speed = GPIO_SPEED_FREQ_LOW;
  HAL_GPIO_Init(VL53L3CX_XSHUT_GPIO_Port, &GPIO_InitStruct);

  /* EXTI interrupt init*/
  HAL_NVIC_SetPriority(EXTI2_IRQn, 1, 0);
  HAL_NVIC_EnableIRQ(EXTI2_IRQn);

  HAL_NVIC_SetPriority(EXTI3_IRQn, 1, 0);
  HAL_NVIC_EnableIRQ(EXTI3_IRQn);

  HAL_NVIC_SetPriority(EXTI15_10_IRQn, 1, 0);
  HAL_NVIC_EnableIRQ(EXTI15_10_IRQn);

}

void Error_Handler(void)
{
  __disable_irq();
  while (1)
  {
  }
}
